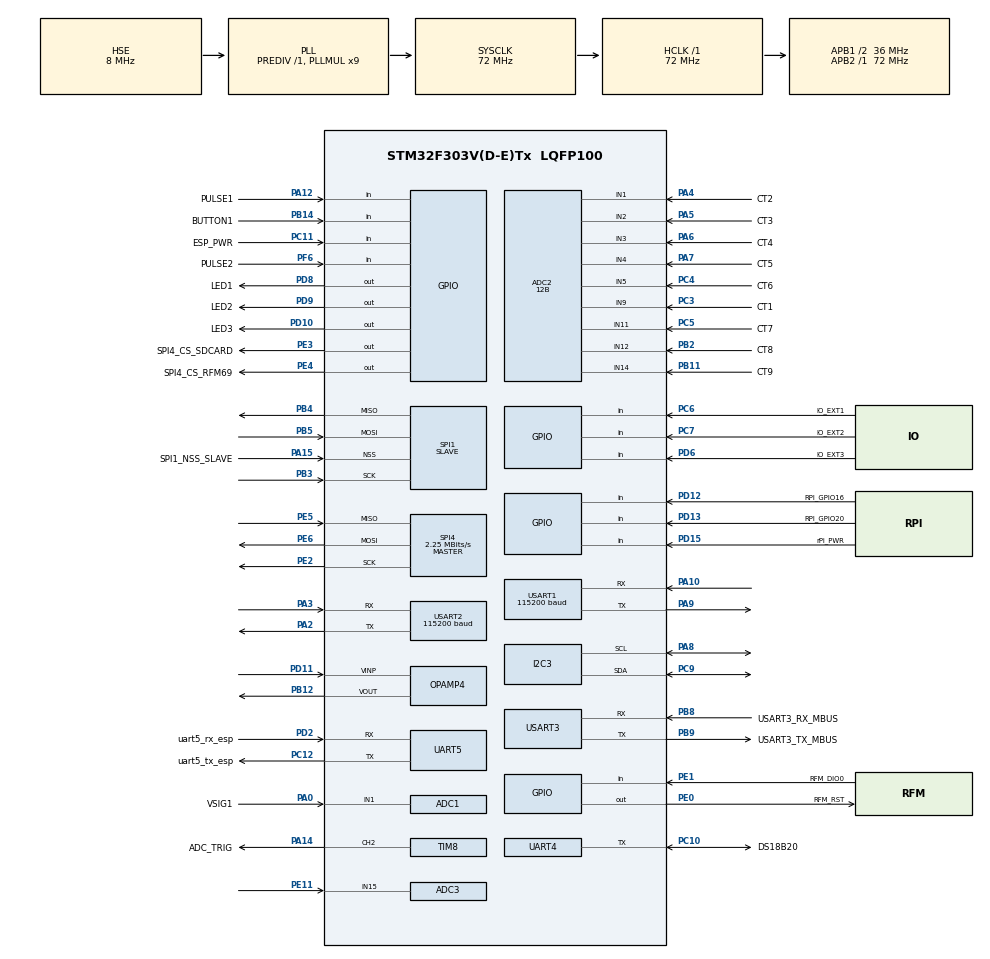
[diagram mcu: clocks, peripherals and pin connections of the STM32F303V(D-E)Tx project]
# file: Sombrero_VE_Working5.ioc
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ADC1.Channel-0\#ChannelRegularConversion=ADC_CHANNEL_1
ADC1.ClockPrescaler=ADC_CLOCK_SYNC_PCLK_DIV4
ADC1.ContinuousConvMode=ENABLE
ADC1.DMAContinuousRequests=ENABLE
ADC1.DataAlign=ADC_DATAALIGN_RIGHT
ADC1.DiscontinuousConvMode=DISABLE
ADC1.EOCSelection=ADC_EOC_SEQ_CONV
ADC1.EnableAnalogWatchDog1=false
ADC1.EnableAnalogWatchDog2=false
ADC1.EnableAnalogWatchDog3=false
ADC1.EnableInjectedConversion=DISABLE
ADC1.EnableRegularConversion=ENABLE
ADC1.ExternalTrigConv=ADC_EXTERNALTRIGCONV_T8_TRGO2
ADC1.ExternalTrigConvEdge=ADC_EXTERNALTRIGCONVEDGE_FALLING
ADC1.LowPowerAutoWait=DISABLE
ADC1.NbrOfConversion=1
ADC1.NbrOfConversionFlag=1
ADC1.Offset-0\#ChannelRegularConversion=0
ADC1.OffsetNumber-0\#ChannelRegularConversion=ADC_OFFSET_NONE
ADC1.Overrun=ADC_OVR_DATA_OVERWRITTEN
ADC1.Rank-0\#ChannelRegularConversion=1
ADC1.Resolution=ADC_RESOLUTION_12B
ADC1.SamplingTime-0\#ChannelRegularConversion=ADC_SAMPLETIME_181CYCLES_5
ADC1.ScanConvMode=ADC_SCAN_DISABLE
ADC1.master=1
ADC2.Channel-0\#ChannelRegularConversion=ADC_CHANNEL_9
ADC2.Channel-1\#ChannelRegularConversion=ADC_CHANNEL_1
ADC2.Channel-2\#ChannelRegularConversion=ADC_CHANNEL_2
ADC2.Channel-3\#ChannelRegularConversion=ADC_CHANNEL_3
ADC2.Channel-4\#ChannelRegularConversion=ADC_CHANNEL_4
ADC2.Channel-5\#ChannelRegularConversion=ADC_CHANNEL_5
ADC2.Channel-6\#ChannelRegularConversion=ADC_CHANNEL_11
ADC2.Channel-7\#ChannelRegularConversion=ADC_CHANNEL_12
ADC2.Channel-8\#ChannelRegularConversion=ADC_CHANNEL_14
ADC2.ClockPrescaler=ADC_CLOCK_SYNC_PCLK_DIV4
ADC2.ContinuousConvMode=ENABLE
ADC2.DMAContinuousRequests=ENABLE
ADC2.DataAlign=ADC_DATAALIGN_RIGHT
ADC2.DiscontinuousConvMode=DISABLE
ADC2.EOCSelection=ADC_EOC_SEQ_CONV
ADC2.EnableAnalogWatchDog1=false
ADC2.EnableAnalogWatchDog2=false
ADC2.EnableAnalogWatchDog3=false
ADC2.EnableInjectedConversion=DISABLE
ADC2.EnableRegularConversion=ENABLE
ADC2.ExternalTrigConv=ADC_EXTERNALTRIGCONV_T8_TRGO2
ADC2.ExternalTrigConvEdge=ADC_EXTERNALTRIGCONVEDGE_RISING
ADC2.LowPowerAutoWait=DISABLE
ADC2.NbrOfConversion=9
ADC2.NbrOfConversionFlag=1
ADC2.Offset-0\#ChannelRegularConversion=0
ADC2.Offset-1\#ChannelRegularConversion=0
ADC2.Offset-2\#ChannelRegularConversion=0
ADC2.Offset-3\#ChannelRegularConversion=0
ADC2.Offset-4\#ChannelRegularConversion=0
ADC2.Offset-5\#ChannelRegularConversion=0
ADC2.Offset-6\#ChannelRegularConversion=0
ADC2.Offset-7\#ChannelRegularConversion=0
ADC2.Offset-8\#ChannelRegularConversion=0
ADC2.OffsetNumber-0\#ChannelRegularConversion=ADC_OFFSET_NONE
ADC2.OffsetNumber-1\#ChannelRegularConversion=ADC_OFFSET_NONE
ADC2.OffsetNumber-2\#ChannelRegularConversion=ADC_OFFSET_NONE
ADC2.OffsetNumber-3\#ChannelRegularConversion=ADC_OFFSET_NONE
ADC2.OffsetNumber-4\#ChannelRegularConversion=ADC_OFFSET_NONE
ADC2.OffsetNumber-5\#ChannelRegularConversion=ADC_OFFSET_NONE
ADC2.OffsetNumber-6\#ChannelRegularConversion=ADC_OFFSET_NONE
ADC2.OffsetNumber-7\#ChannelRegularConversion=ADC_OFFSET_NONE
ADC2.OffsetNumber-8\#ChannelRegularConversion=ADC_OFFSET_NONE
ADC2.Overrun=ADC_OVR_DATA_OVERWRITTEN
ADC2.Rank-0\#ChannelRegularConversion=1
ADC2.Rank-1\#ChannelRegularConversion=2
ADC2.Rank-2\#ChannelRegularConversion=3
ADC2.Rank-3\#ChannelRegularConversion=4
ADC2.Rank-4\#ChannelRegularConversion=5
ADC2.Rank-5\#ChannelRegularConversion=6
ADC2.Rank-6\#ChannelRegularConversion=7
ADC2.Rank-7\#ChannelRegularConversion=8
ADC2.Rank-8\#ChannelRegularConversion=9
ADC2.Resolution=ADC_RESOLUTION_12B
ADC2.SamplingTime-0\#ChannelRegularConversion=ADC_SAMPLETIME_181CYCLES_5
ADC2.SamplingTime-1\#ChannelRegularConversion=ADC_SAMPLETIME_181CYCLES_5
ADC2.SamplingTime-2\#ChannelRegularConversion=ADC_SAMPLETIME_181CYCLES_5
ADC2.SamplingTime-3\#ChannelRegularConversion=ADC_SAMPLETIME_181CYCLES_5
ADC2.SamplingTime-4\#ChannelRegularConversion=ADC_SAMPLETIME_181CYCLES_5
ADC2.SamplingTime-5\#ChannelRegularConversion=ADC_SAMPLETIME_181CYCLES_5
ADC2.SamplingTime-6\#ChannelRegularConversion=ADC_SAMPLETIME_181CYCLES_5
ADC2.SamplingTime-7\#ChannelRegularConversion=ADC_SAMPLETIME_181CYCLES_5
ADC2.SamplingTime-8\#ChannelRegularConversion=ADC_SAMPLETIME_181CYCLES_5
ADC2.ScanConvMode=ADC_SCAN_ENABLE
ADC3.Channel-0\#ChannelRegularConversion=ADC_CHANNEL_15
ADC3.EnableInjectedConversion=DISABLE
ADC3.NbrOfConversionFlag=1
ADC3.Offset-0\#ChannelRegularConversion=0
ADC3.OffsetNumber-0\#ChannelRegularConversion=ADC_OFFSET_NONE
ADC3.Rank-0\#ChannelRegularConversion=1
ADC3.SamplingTime-0\#ChannelRegularConversion=ADC_SAMPLETIME_1CYCLE_5
ADC3.master=1
Dma.ADC1.3.Direction=DMA_PERIPH_TO_MEMORY
Dma.ADC1.3.Instance=DMA1_Channel1
Dma.ADC1.3.MemDataAlignment=DMA_MDATAALIGN_HALFWORD
Dma.ADC1.3.MemInc=DMA_MINC_ENABLE
Dma.ADC1.3.Mode=DMA_CIRCULAR
Dma.ADC1.3.PeriphDataAlignment=DMA_PDATAALIGN_HALFWORD
Dma.ADC1.3.PeriphInc=DMA_PINC_DISABLE
Dma.ADC1.3.Priority=DMA_PRIORITY_HIGH
Dma.ADC2.0.Direction=DMA_PERIPH_TO_MEMORY
Dma.ADC2.0.Instance=DMA2_Channel1
Dma.ADC2.0.MemDataAlignment=DMA_MDATAALIGN_HALFWORD
Dma.ADC2.0.MemInc=DMA_MINC_ENABLE
Dma.ADC2.0.Mode=DMA_CIRCULAR
Dma.ADC2.0.PeriphDataAlignment=DMA_PDATAALIGN_HALFWORD
Dma.ADC2.0.PeriphInc=DMA_PINC_DISABLE
Dma.ADC2.0.Priority=DMA_PRIORITY_HIGH
Dma.Request0=ADC2
Dma.Request1=USART2_RX
Dma.Request2=USART1_RX
Dma.Request3=ADC1
Dma.USART1_RX.2.Direction=DMA_PERIPH_TO_MEMORY
Dma.USART1_RX.2.Instance=DMA1_Channel5
Dma.USART1_RX.2.MemDataAlignment=DMA_MDATAALIGN_BYTE
Dma.USART1_RX.2.MemInc=DMA_MINC_ENABLE
Dma.USART1_RX.2.Mode=DMA_NORMAL
Dma.USART1_RX.2.PeriphDataAlignment=DMA_PDATAALIGN_BYTE
Dma.USART1_RX.2.PeriphInc=DMA_PINC_DISABLE
Dma.USART1_RX.2.Priority=DMA_PRIORITY_LOW
Dma.USART2_RX.1.Direction=DMA_PERIPH_TO_MEMORY
Dma.USART2_RX.1.Instance=DMA1_Channel6
Dma.USART2_RX.1.MemDataAlignment=DMA_MDATAALIGN_BYTE
Dma.USART2_RX.1.MemInc=DMA_MINC_ENABLE
Dma.USART2_RX.1.Mode=DMA_NORMAL
Dma.USART2_RX.1.PeriphDataAlignment=DMA_PDATAALIGN_BYTE
Dma.USART2_RX.1.PeriphInc=DMA_PINC_DISABLE
Dma.USART2_RX.1.Priority=DMA_PRIORITY_LOW
I2C3.Timing=0x10808DD3
Mcu.Family=STM32F3
Mcu.Name=STM32F303V(D-E)Tx
Mcu.Package=LQFP100
NVIC.ADC1_2_IRQn=true\:0\:0\:false\:false\:true\:true
NVIC.DMA1_Channel1_IRQn=true\:0\:0\:false\:false\:true\:false
NVIC.DMA1_Channel5_IRQn=true\:0\:0\:false\:false\:true\:false
NVIC.DMA1_Channel6_IRQn=true\:0\:0\:false\:false\:true\:false
NVIC.DMA2_Channel1_IRQn=true\:0\:0\:false\:false\:true\:false
NVIC.PriorityGroup=NVIC_PRIORITYGROUP_4
NVIC.TIM1_UP_TIM16_IRQn=true\:0\:0\:false\:false\:true\:true
NVIC.USART1_IRQn=true\:0\:0\:false\:false\:true\:true
NVIC.USART2_IRQn=true\:0\:0\:false\:false\:true\:true
PA0.GPIO_Label=VSIG1
PA0.Mode=IN1-Single-Ended
PA0.Signal=ADC1_IN1
PA10.GPIO_PuPd=GPIO_PULLDOWN
PA10.Mode=Asynchronous
PA10.Signal=USART1_RX
PA12.GPIO_Label=PULSE1
PA12.GPIO_PuPd=GPIO_PULLDOWN
PA12.Signal=GPIO_Input
PA14.GPIO_Label=ADC_TRIG
PA14.Signal=S_TIM8_CH2
PA15.GPIO_Label=SPI1_NSS_SLAVE
PA15.GPIO_PuPd=GPIO_PULLDOWN
PA15.Mode=NSS_Signal_Hard_Input
PA15.Signal=SPI1_NSS
PA2.GPIO_PuPd=GPIO_PULLDOWN
PA2.Mode=Asynchronous
PA2.Signal=USART2_TX
PA3.GPIO_PuPd=GPIO_PULLDOWN
PA3.Mode=Asynchronous
PA3.Signal=USART2_RX
PA4.GPIO_Label=CT2
PA4.Mode=IN1-Single-Ended
PA4.Signal=ADC2_IN1
PA5.GPIO_Label=CT3
PA5.Mode=IN2-Single-Ended
PA5.Signal=ADC2_IN2
PA6.GPIO_Label=CT4
PA6.Mode=IN3-Single-Ended
PA6.Signal=ADC2_IN3
PA7.GPIO_Label=CT5
PA7.Mode=IN4-Single-Ended
PA7.Signal=ADC2_IN4
PA8.Mode=I2C
PA8.Signal=I2C3_SCL
PA9.GPIO_PuPd=GPIO_PULLDOWN
PA9.Mode=Asynchronous
PA9.Signal=USART1_TX
PB11.GPIO_Label=CT9
PB11.Mode=IN14-Single-Ended
PB11.Signal=ADC2_IN14
PB12.Mode=Follower
PB12.Signal=OPAMP4_VOUT
PB14.GPIO_Label=BUTTON1
PB14.GPIO_PuPd=GPIO_PULLDOWN
PB14.Signal=GPIO_Input
PB15.GPIO_Label=ADC4_5_RJ45_1
PB15.Signal=ADC4_IN5
PB2.GPIO_Label=CT8
PB2.Mode=IN12-Single-Ended
PB2.Signal=ADC2_IN12
PB3.GPIO_PuPd=GPIO_PULLDOWN
PB3.Mode=Full_Duplex_Slave
PB3.Signal=SPI1_SCK
PB4.GPIO_PuPd=GPIO_PULLDOWN
PB4.Mode=Full_Duplex_Slave
PB4.Signal=SPI1_MISO
PB5.GPIO_PuPd=GPIO_PULLDOWN
PB5.Mode=Full_Duplex_Slave
PB5.Signal=SPI1_MOSI
PB8.GPIO_Label=USART3_RX_MBUS
PB8.Mode=Asynchronous
PB8.Signal=USART3_RX
PB9.GPIO_Label=USART3_TX_MBUS
PB9.Mode=Asynchronous
PB9.Signal=USART3_TX
PC10.GPIO_Label=DS18B20
PC10.Mode=Half_duplex(single_wire_mode)
PC10.Signal=UART4_TX
PC11.GPIO_Label=ESP_PWR
PC11.GPIO_PuPd=GPIO_PULLDOWN
PC11.Signal=GPIO_Input
PC12.GPIO_Label=uart5_tx_esp
PC12.Mode=Asynchronous
PC12.Signal=UART5_TX
PC14-OSC32_IN.Mode=LSE-External-Oscillator
PC14-OSC32_IN.Signal=RCC_OSC32_IN
PC15-OSC32_OUT.Mode=LSE-External-Oscillator
PC15-OSC32_OUT.Signal=RCC_OSC32_OUT
PC3.GPIO_Label=CT1
PC3.Signal=ADCx_IN9
PC4.GPIO_Label=CT6
PC4.Mode=IN5-Single-Ended
PC4.Signal=ADC2_IN5
PC5.GPIO_Label=CT7
PC5.Mode=IN11-Single-Ended
PC5.Signal=ADC2_IN11
PC6.GPIO_Label=IO_EXT1
PC6.GPIO_PuPd=GPIO_PULLDOWN
PC6.Signal=GPIO_Input
PC7.GPIO_Label=IO_EXT2
PC7.GPIO_PuPd=GPIO_PULLDOWN
PC7.Signal=GPIO_Input
PC9.Mode=I2C
PC9.Signal=I2C3_SDA
PD10.GPIO_Label=LED3
PD10.GPIO_ModeDefaultOutputPP=GPIO_MODE_OUTPUT_PP
PD10.GPIO_PuPd=GPIO_NOPULL
PD10.GPIO_Speed=GPIO_SPEED_FREQ_LOW
PD10.PinState=GPIO_PIN_RESET
PD10.Signal=GPIO_Output
PD11.Mode=Follower
PD11.Signal=OPAMP4_VINP
PD12.GPIO_Label=RPI_GPIO16
PD12.GPIO_PuPd=GPIO_PULLDOWN
PD12.Signal=GPIO_Input
PD13.GPIO_Label=RPI_GPIO20
PD13.GPIO_PuPd=GPIO_PULLDOWN
PD13.Signal=GPIO_Input
PD14.GPIO_Label=ADC3_11_RJ45_2
PD14.Signal=ADCx_IN11
PD15.GPIO_Label=rPi_PWR
PD15.GPIO_PuPd=GPIO_PULLDOWN
PD15.Signal=GPIO_Input
PD2.GPIO_Label=uart5_rx_esp
PD2.Mode=Asynchronous
PD2.Signal=UART5_RX
PD6.GPIO_Label=IO_EXT3
PD6.GPIO_PuPd=GPIO_PULLDOWN
PD6.Signal=GPIO_Input
PD8.GPIO_Label=LED1
PD8.Signal=GPIO_Output
PD9.GPIO_Label=LED2
PD9.GPIO_ModeDefaultOutputPP=GPIO_MODE_OUTPUT_PP
PD9.GPIO_PuPd=GPIO_NOPULL
PD9.GPIO_Speed=GPIO_SPEED_FREQ_LOW
PD9.PinState=GPIO_PIN_RESET
PD9.Signal=GPIO_Output
PE0.GPIO_Label=RFM_RST
PE0.GPIO_PuPd=GPIO_PULLDOWN
PE0.Signal=GPIO_Output
PE1.GPIO_Label=RFM_DIO0
PE1.GPIO_PuPd=GPIO_PULLDOWN
PE1.Signal=GPIO_Input
PE11.Mode=IN15-Single-Ended
PE11.Signal=ADC3_IN15
PE2.GPIO_PuPd=GPIO_PULLDOWN
PE2.Mode=Full_Duplex_Master
PE2.Signal=SPI4_SCK
PE3.GPIO_Label=SPI4_CS_SDCARD
PE3.GPIO_PuPd=GPIO_PULLUP
PE3.PinState=GPIO_PIN_SET
PE3.Signal=GPIO_Output
PE4.GPIO_Label=SPI4_CS_RFM69
PE4.GPIO_PuPd=GPIO_PULLUP
PE4.GPIO_Speed=GPIO_SPEED_FREQ_HIGH
PE4.PinState=GPIO_PIN_SET
PE4.Signal=GPIO_Output
PE5.GPIO_PuPd=GPIO_PULLDOWN
PE5.Mode=Full_Duplex_Master
PE5.Signal=SPI4_MISO
PE6.GPIO_PuPd=GPIO_PULLDOWN
PE6.Mode=Full_Duplex_Master
PE6.Signal=SPI4_MOSI
PF0-OSC_IN.Mode=HSE-External-Oscillator
PF0-OSC_IN.Signal=RCC_OSC_IN
PF1-OSC_OUT.Mode=HSE-External-Oscillator
PF1-OSC_OUT.Signal=RCC_OSC_OUT
PF6.GPIO_Label=PULSE2
PF6.GPIO_PuPd=GPIO_PULLDOWN
PF6.Signal=GPIO_Input
ProjectManager.HeapSize=0x200
ProjectManager.StackSize=0x400
ProjectManager.TargetToolchain=Makefile
RCC.AHBFreq_Value=72000000
RCC.APB1CLKDivider=RCC_HCLK_DIV2
RCC.APB1Freq_Value=36000000
RCC.APB1TimFreq_Value=72000000
RCC.APB2Freq_Value=72000000
RCC.APB2TimFreq_Value=72000000
RCC.CortexFreq_Value=72000000
RCC.HCLKFreq_Value=72000000
RCC.HSE_VALUE=8000000
RCC.HSI_VALUE=8000000
RCC.I2c1ClockSelection=RCC_I2C1CLKSOURCE_SYSCLK
RCC.I2c3ClockSelection=RCC_I2C3CLKSOURCE_SYSCLK
RCC.PLLMUL=RCC_PLL_MUL9
RCC.PLLSourceVirtual=RCC_PLLSOURCE_HSE
RCC.PRESCALERUSB=RCC_USBCLKSOURCE_PLL_DIV1_5
RCC.RTCClockSelection=RCC_RTCCLKSOURCE_LSE
RCC.SYSCLKFreq_VALUE=72000000
RCC.SYSCLKSourceVirtual=RCC_SYSCLKSOURCE_PLLCLK
RCC.USBFreq_Value=48000000
RCC.Uart4ClockSelection=RCC_UART4CLKSOURCE_SYSCLK
RCC.Uart5ClockSelection=RCC_UART5CLKSOURCE_SYSCLK
RCC.Usart1ClockSelection=RCC_USART1CLKSOURCE_SYSCLK
RCC.Usart2ClockSelection=RCC_USART2CLKSOURCE_SYSCLK
RCC.Usart3ClockSelection=RCC_USART3CLKSOURCE_SYSCLK
RTC.SynchPrediv=311
SH.ADCx_IN11.0=ADC3_IN11
SH.ADCx_IN9.0=ADC2_IN9,IN9-Single-Ended
SH.S_TIM8_CH2.0=TIM8_CH2,PWM Generation2 CH2
SPI1.DataSize=SPI_DATASIZE_8BIT
SPI1.Direction=SPI_DIRECTION_2LINES
SPI1.Mode=SPI_MODE_SLAVE
SPI1.VirtualNSS=VM_NSSHARD
SPI1.VirtualType=VM_SLAVE
SPI4.BaudRatePrescaler=SPI_BAUDRATEPRESCALER_32
SPI4.CalculateBaudRate=2.25 MBits/s
SPI4.DataSize=SPI_DATASIZE_8BIT
SPI4.Direction=SPI_DIRECTION_2LINES
SPI4.Mode=SPI_MODE_MASTER
SPI4.VirtualType=VM_MASTER
TIM16.AutoReloadPreload=TIM_AUTORELOAD_PRELOAD_DISABLE
TIM16.Period=9999
TIM16.Prescaler=710
TIM8.AutoReloadPreload=TIM_AUTORELOAD_PRELOAD_DISABLE
TIM8.Channel-PWM\ Generation2\ CH2=TIM_CHANNEL_2
TIM8.Period=9999
TIM8.Prescaler=71
TIM8.TIM_MasterOutputTrigger2=TIM_TRGO2_OC2REF
USART1.BaudRate=115200
USART1.DMADisableonRxErrorParam=ADVFEATURE_DMA_DISABLEONRXERROR
USART1.VirtualMode-Asynchronous=VM_ASYNC
USART2.BaudRate=115200
USART2.DMADisableonRxErrorParam=ADVFEATURE_DMA_DISABLEONRXERROR
USART2.VirtualMode-Asynchronous=VM_ASYNC
USART3.VirtualMode-Asynchronous=VM_ASYNC
VP_RTC_VS_RTC_Activate.Mode=RTC_Enabled
VP_RTC_VS_RTC_Calendar.Mode=RTC_Calendar
VP_TIM16_VS_ClockSourceINT.Mode=Enable_Timer
VP_TIM16_VS_OPM.Mode=OPM_bit
board=custom

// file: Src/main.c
/**
  ******************************************************************************
  * @file           : main.c
  * @brief          : Main program body
  ******************************************************************************
  ** This notice applies to any and all portions of this file
  * that are not between comment pairs USER CODE BEGIN and
  * USER CODE END. Other portions of this file, whether
  * inserted by the user or by software development tools
  * are owned by their respective copyright owners.
  *
  * COPYRIGHT(c) 2020 STMicroelectronics
  *
  * Redistribution and use in source and binary forms, with or without modification,
  * are permitted provided that the following conditions are met:
  *   1. Redistributions of source code must retain the above copyright notice,
  *      this list of conditions and the following disclaimer.
  *   2. Redistributions in binary form must reproduce the above copyright notice,
  *      this list of conditions and the following disclaimer in the documentation
  *      and/or other materials provided with the distribution.
  *   3. Neither the name of STMicroelectronics nor the names of its contributors
  *      may be used to endorse or promote products derived from this software
  *      without specific prior written permission.
  *
  * THIS SOFTWARE IS PROVIDED BY THE COPYRIGHT HOLDERS AND CONTRIBUTORS "AS IS"
  * AND ANY EXPRESS OR IMPLIED WARRANTIES, INCLUDING, BUT NOT LIMITED TO, THE
  * IMPLIED WARRANTIES OF MERCHANTABILITY AND FITNESS FOR A PARTICULAR PURPOSE ARE
  * DISCLAIMED. IN NO EVENT SHALL THE COPYRIGHT HOLDER OR CONTRIBUTORS BE LIABLE
  * FOR ANY DIRECT, INDIRECT, INCIDENTAL, SPECIAL, EXEMPLARY, OR CONSEQUENTIAL
  * DAMAGES (INCLUDING, BUT NOT LIMITED TO, PROCUREMENT OF SUBSTITUTE GOODS OR
  * SERVICES; LOSS OF USE, DATA, OR PROFITS; OR BUSINESS INTERRUPTION) HOWEVER
  * CAUSED AND ON ANY THEORY OF LIABILITY, WHETHER IN CONTRACT, STRICT LIABILITY,
  * OR TORT (INCLUDING NEGLIGENCE OR OTHERWISE) ARISING IN ANY WAY OUT OF THE USE
  * OF THIS SOFTWARE, EVEN IF ADVISED OF THE POSSIBILITY OF SUCH DAMAGE.
  *
  ******************************************************************************
  */
#include "main.h"
#include "stm32f3xx_hal.h"
#include "adc.h"
#include "dma.h"
#include "i2c.h"
#include "opamp.h"
#include "rtc.h"
#include "spi.h"
#include "tim.h"
#include "usart.h"
#include "gpio.h"

/* USER CODE BEGIN Includes */
#include <time.h>
#include <math.h>
#include <string.h>
#include <stdbool.h>
#include <stdlib.h>
#include "jsmn.h"
#include "reset.h"
#include "json.h"
#include "RFM69.h"
#include "RFM69_ext.h"
//#include "ds18b20.h"
/* USER CODE END Includes */

/* USER CODE BEGIN PV */
/* Private variables ---------------------------------------------------------*/
// test variables
bool testing = true; // for testing
bool dontGiveAMonkeys = false; // don't wait for a VT adaptor to calculate Irms, AP, RP etc.
bool ledBlink = true; // enable or disable LED blinking.

// version information
char hwVersion[] = "Sombrero_v0.8";
char fwVersion[] = "v0.1";

//-------------
// MODES
//-------------
// 0 = Standalone
// 1 = rPi
// 2 = ESP32
// 3 = testing
int _mode = 1; // initialised as rPi mode for testing.

// approximating the BIAS.
#define MID_ADC_READING 2048

//------------------------------------------------
// timing, ADCs, power and frequency variables
//------------------------------------------------
double V_RATIO;
double I_RATIO;
uint32_t posting_interval = 1000; // millis to post data at.
//const double adc_conversion_time = (614.0*(1.0/(72000000.0/4))); // time in seconds for an ADC conversion, for estimating mains AC frequency.
const double adc_conversion_time = (194.0*(1.0/(72000000.0/4))); // time in seconds for an ADC conversion, for estimating mains AC frequency.
//const double adc_conversion_time = (74.0*(1.0/(72000000.0/4))); // seems to be the fastest we can sample.
//const double adc_conversion_time = (32.0*(1.0/(72000000.0/4))); // this speed causes buffer overruns.
double mains_frequency; // as it says.
double Ws_accumulator[CTn] = {0}; // energy accumulator per CT channel.

//------------------------------------------------
// Flags
//------------------------------------------------
bool readings_ready = false;
bool readings_requested = false;
bool first_readings = false;

//----------------------------
// CT Settings : Common
//----------------------------

//----------------------------
// CT Settings : Per Channel
//----------------------------

//----------------------------
// VT Settings : Common
//----------------------------

//------------------------
// Channel Accumulators
//------------------------
typedef struct channel_
{
  int64_t sum_P;
  uint64_t sum_V_sq;
  uint64_t sum_I_sq;
  int64_t sum_V;
  int64_t sum_I;
  bool Iclipped;
  uint32_t count;
  uint32_t cycles;
  bool positive_V;
  bool last_positive_V;
} channel_t; // data struct per CT channel, stm32 only does 32-bit struct items, anything else gets padded out to 32-bit automatically by

static channel_t channels[CTn] = {0};
static channel_t channels_ready[CTn] = {0};
bool channel_rdy_bools[CTn] = {0};

//--------------------------------
// VOLTAGE CALIBRATION
//--------------------------------
const double VOLTS_PER_DIV = (3.3 / 4096.0);
//const double VCAL = 268.97*0.9940357853*0.9947958367; // default ideal power UK, adjusted
const double VCAL = 268.97;
//const double VCAL = 278.853288075457; // measured by DB for the Mascot adaptor.

//--------------------------------
// AMPERAGE CALIBRATION
//--------------------------------
//const double ICAL = (100/0.05)/22.0; // (CT rated input ÷ rated output) ÷ burden value.
//const double ICAL = (100/0.05)/(26.8); // dan's stm32 consistency check board at 0.2% accuracy burden (53R6 x 2 in parallel).
//const double ICAL = (100/0.05)/50.6; // dan's custom test board.
//const double ICAL = (100/0.05)/456.3; // dan's custom test board.
//const double ICAL = (100/0.05)/1.0; // dan's custom test board.
//const double ICAL = (100/0.05)/(22.0/1000.0);
const double ICAL = (100.0/0.05)*22.0; // V=I*R. Convert to raw mV signal for testing.

//--------------------------
// PHASE CALIBRATION
//--------------------------
// Finite Impulse Response (FIR) filter-like Power Factor correction.
// This phase correction can be applied to individual CTs.
// This phase-correction works by selecting the relevant sample from the ADC DMA buffer.
// For example ADC1 has buffer 1, ADC2 has buffer 2. The VT is on buffer 1, the CT is on buffer 2.
// We can choose to pair the relevant sample from buffers one and two, to adjust for time differences (phase shift).
// Each sample is separated at a single conversion time, 10.7usecs, for example, or tripple that for 3-phase.
int hunt_PF[CTn] = {0}; // this is a per-channel state trigger. The array index is the CT channel.
// when above array value {0} equals:
// 0 = no power factor hunting, default at program start.
// 1 = power factor hunt start. This can be triggered from a serial command.
// 2 = power factor hunt to the right. (increase VT lead, automatic).
// 3 = power factor hunt to the left. (increase VT lag, automatic).
// 4 = hunt finishing, finding mode average (automatic).
// 5 = hunt complete.

// This store the actual value of buffer indexes to shift by, for each channel.
int phase_corrections[CTn] = {0};   // store of phase corrections per channel.

// Below are misc variables to make PF hunting work.
uint8_t phHunt_direction_changes = 0; // we're aiming for phase_correction_iteration_target.
const int phHunt_direction_change_target = 5; // how many times will the phase hunt change direction?
double last_powerFactor[CTn]; // PF from previous readings.
double powerFactor_now[CTn];  // PF from most recent readings.
uint16_t highest_phase_correction = 0;

//------------------------
// UART SERIAL BUFFERS
//------------------------

char rx_string[COMMAND_BUFFER_SIZE];
char string_buffer[200];
char readings_rdy_buffer[1000];

//----------------
// RADIO
//----------------
bool radioSend = false; // set to 1 to send test data with RFM69.
bool radioReceive = false;
static uint16_t networkID = 210; // a.k.a. Network Group
static uint8_t nodeID = 10; // this node's ID (address).
static uint16_t freqBand = 433; // MHz
static uint8_t toAddress = 1; // destination address.
bool requestACK = false; // untested.
static char encryptkey[20] = {'\0'}; // twenty character encrypt key, or  '\0'  for nothing.
//char encryptkey[20] = "asdfasdfasdfasdf"; // twenty character encrypt key, or  '\0'  for nothing.
typedef struct {
  uint32_t nodeId;
  uint32_t uptime;
  //double temperature;   // other data
} Payload;
Payload radioData;

//--------------------
// Time variables
//--------------------
uint32_t current_millis;
uint32_t previous_millis;

//----------------
// MISC
//----------------
static uint32_t pulseCount = 0;
extern char json_response[40];
extern int boot_number;

/* USER CODE END PV */

void SystemClock_Config(void);

/* USER CODE BEGIN PFP */
/* Private function prototypes -----------------------------------------------*/

//------------------------------------------
// FIR-type filter for phase correction.
//------------------------------------------
void set_highest_phase_correction(void) { // could be done after each correction routine instead.
  highest_phase_correction = 0; // reset.
  for (int i = 0; i < CTn; i++) {
    if (phase_corrections[i] > highest_phase_correction) highest_phase_correction = phase_corrections[i];
  }
}

//-----------------------------------------------
// Check the DMA buffer for a 'future' sample.
//-----------------------------------------------
bool check_dma_index_for_phase_correction(uint16_t offset) {
  // HAL_DELAY(1); // test
  uint16_t dma_counter_now = hdma_adc1.Instance->CNDTR;
  //sprintf(log_buffer, "dma_counter_now:%d, offset:%d, highest_correction:%d\r\n", dma_counter_now, offset, highest_phase_correction);
  //debug_printf(log_buffer); log_buffer[0] = 0;
  if (offset == 0) {
    if (adc_buff_half_size - dma_counter_now > highest_phase_correction) { return true; }
    else { return false; }
  }
  else if (offset == adc_buff_half_size) {
    if (adc_buff_size - dma_counter_now > highest_phase_correction) {return true; }
    else { return false; }
  }
  return false; // get rid of compiler warning.
}

//--------------------------------------------------------
// Mathematical function to find the mode of an array
//--------------------------------------------------------
bool modeFail;

int findmode(int a[],int n) { // https://www.tutorialspoint.com/learn_c_by_examples/mode_program_in_c.htm
   modeFail = false;
   int maxValue = 0, maxCount = 0, i, j;
   for (i = 0; i < n; ++i) {
      int count = 0;
      for (j = 0; j < n; ++j) {
         if (a[j] == a[i])
         ++count;
      }
      if (count > maxCount) {
         maxCount = count;
         maxValue = a[i];
      }
   }
   if (maxCount < 3) {debug_printf("No confident value found.\r\n"); modeFail = true; }
   return maxValue;
}

//----------------------------------------------------------------------------------------------------------------
// This is a phase correction per CT channel method based on the DMA buffer index selection (CT vs VT DMA buffer).
//----------------------------------------------------------------------------------------------------------------
int pf_mode_array[5]; // stores the phase_corrections value at the point of switching direction.
int *pf_ptr = pf_mode_array;
int phase_corrections_store_previous_value;
void pfHunt(int ch) {
  if (hunt_PF[ch] == 0 || hunt_PF[ch] == 5) {
    return;
  }
  else if (hunt_PF[ch] == 1) { // start hunting one direction
    phase_corrections_store_previous_value = phase_corrections[ch];
    phase_corrections[ch]++; hunt_PF[ch]++;
    // print phase correction.
    sprintf(log_buffer, "PFstart++ \r\nSetting phase_corrections[%d] to %d\r\n", ch, phase_corrections[ch]);
    //debug_printf(log_buffer); log_buffer[0] = '\0';
  }
  else if (hunt_PF[ch] == 2) { // continue this direction unless...
    sprintf(log_buffer, "PF_now:%.6lf | last_PF:%.6lf | phase_corrections[] for CT%d was at %d, equal to %.2lf degrees phase shift.\r\n",
     powerFactor_now[ch], last_powerFactor[ch], ch+1, phase_corrections[ch], (360.0*((adc_conversion_time*phase_corrections[ch])/(1/mains_frequency))));
    debug_printf(log_buffer); log_buffer[0] = '\0';
    if (powerFactor_now[ch] > last_powerFactor[ch]) phase_corrections[ch]++; // keep going forwards into the buffer
    else { hunt_PF[ch]++; phHunt_direction_changes++; phase_corrections[ch]--; *pf_ptr = phase_corrections[ch]; pf_ptr++; } // switch direction and start going backwards into the buffer
    // print phase correction.
    sprintf(log_buffer, "PF++ | Setting phase_corrections[] for CT%d to %d. Switched direction %d times.\r\n", ch+1, phase_corrections[ch], phHunt_direction_changes);
    //debug_printf(log_buffer); log_buffer[0] = '\0';
    if (phHunt_direction_changes == phHunt_direction_change_target) hunt_PF[ch] = 4;
  }
  else if (hunt_PF[ch] == 3) { // hunt the other direction until...
    sprintf(log_buffer, "PF_now:%.6lf | last_PF:%.6lf | phase_corrections[%d] was at %d, equal to %.2lf degrees phase shift.\r\n", powerFactor_now[ch], last_powerFactor[ch], ch, phase_corrections[ch], (360.0*((adc_conversion_time*phase_corrections[ch])/(1/mains_frequency)))); debug_printf(log_buffer); log_buffer[0] = '\0';
    if (powerFactor_now[ch] > last_powerFactor[ch]) phase_corrections[ch]--; // keep going backwards into the buffer
    else { hunt_PF[ch]--; phHunt_direction_changes++; phase_corrections[ch]++; *pf_ptr = phase_corrections[ch]; pf_ptr++; } // switch direction and go forwards again into the buffer
    // print phase correction.
    sprintf(log_buffer, "PF-- | Setting phase_corrections[] for CT%d to %d. Switched direction %d times.\r\n", ch+1, phase_corrections[ch], phHunt_direction_changes);
    //debug_printf(log_buffer); log_buffer[0] = '\0';
    if (phHunt_direction_changes == phHunt_direction_change_target) hunt_PF[ch] = 4;
  }
  else if (hunt_PF[ch] == 4) {
    // finish up...
    for (int i = 0; i < phHunt_direction_change_target; i++) { sprintf(log_buffer, "pf_mode_array[%d] value was %d\r\n", i, pf_mode_array[i]); debug_printf(log_buffer); }

    sprintf(log_buffer, "mode:%d\r\n", findmode(pf_mode_array, phHunt_direction_change_target));
    debug_printf(log_buffer); log_buffer[0] = '\0';

    phase_corrections[ch] = findmode(pf_mode_array, phHunt_direction_change_target); // the result is set in phase_corrections[] for this channel now.
    if (modeFail) {
      sprintf(log_buffer, "huntPF FAILED – phase_corrections[] for CT%d set to original value %d.\r\n", ch+1, phase_corrections_store_previous_value);
      phase_corrections[ch] = phase_corrections_store_previous_value;
    }
    else {
      sprintf(log_buffer, "Maximum PF found! phase_correction[%d] is at %d, equal to %.2lf degrees phase shift.\r\n", ch, phase_corrections[ch], (360.0*((adc_conversion_time*phase_corrections[ch])/(1/mains_frequency))));
      set_highest_phase_correction(); // update the highest value for 'value ready?' buffer checking.
    }
    phHunt_direction_changes = 0;
    *pf_ptr = 0;
    hunt_PF[ch] = 5;
  }
}

/* USER CODE END PFP */

/* USER CODE BEGIN 0 */

//------------------------
// EEPROM Emulation
//------------------------
// Credit to Viktor Vano for the Flash read/write code
// https://github.com/viktorvano/STM32F3Discovery_internal_FLASH

#define FLASH_STORAGE 0x08030000 // Maximum value for STM32F303xE is defined at line 111 of stm32f3xx_hal_flash_ex.h (0x0807FFFFU)
#define page_size 0x800

void save_to_flash(uint8_t *data)
{
	volatile uint32_t data_to_FLASH[(strlen((char*)data)/4)	+ (int)((strlen((char*)data) % 4) != 0)];
	memset((uint8_t*)data_to_FLASH, 0, strlen((char*)data_to_FLASH));
	strcpy((char*)data_to_FLASH, (char*)data);

	volatile uint32_t data_length = (strlen((char*)data_to_FLASH) / 4)
									+ (int)((strlen((char*)data_to_FLASH) % 4) != 0);
	volatile uint16_t pages = (strlen((char*)data)/page_size)
									+ (int)((strlen((char*)data)%page_size) != 0);
	  /* Unlock the Flash to enable the flash control register access *************/
	  HAL_FLASH_Unlock();

	  /* Allow Access to option bytes sector */
	  HAL_FLASH_OB_Unlock();

	  /* Fill EraseInit structure*/
	  FLASH_EraseInitTypeDef EraseInitStruct;
	  EraseInitStruct.TypeErase = FLASH_TYPEERASE_PAGES;
	  EraseInitStruct.PageAddress = FLASH_STORAGE;
	  EraseInitStruct.NbPages = pages;
	  uint32_t PageError;

	  volatile uint32_t write_cnt=0, index=0;

	  volatile HAL_StatusTypeDef status;
	  status = HAL_FLASHEx_Erase(&EraseInitStruct, &PageError);
	  while(index < data_length)
	  {
		  if (status == HAL_OK)
		  {
			  status = HAL_FLASH_Program(FLASH_TYPEPROGRAM_WORD, FLASH_STORAGE+write_cnt, data_to_FLASH[index]);
			  if(status == HAL_OK)
			  {
				  write_cnt += 4;
				  index++;
			  }
		  }
	  }

	  HAL_FLASH_OB_Lock();
	  HAL_FLASH_Lock();
}

void read_flash(uint8_t* data)
{
	volatile uint32_t read_data;
	volatile uint32_t read_cnt=0;
	do
	{
		read_data = *(uint32_t*)(FLASH_STORAGE + read_cnt);
		if(read_data != 0xFFFFFFFF)
		{
			data[read_cnt] = (uint8_t)read_data;
			data[read_cnt + 1] = (uint8_t)(read_data >> 8);
			data[read_cnt + 2] = (uint8_t)(read_data >> 16);
			data[read_cnt + 3] = (uint8_t)(read_data >> 24);
			read_cnt += 4;
		}
	} while(read_data != 0xFFFFFFFF);
}

typedef struct {
  int reset_counter;
  //uint32_t uptime;
  //double temperature;   // other data
} FlashStruct;

FlashStruct flash_struct;

//------------------------------------------
// Calculate Power Data for one Channel
//------------------------------------------
double Vrms;
double Irms;
double realPower;
double apparentPower;
double powerFactor;

void calcPower (int ch)
{
  channel_t *chn = &channels_ready[ch];

  double Vmean = (double)chn->sum_V / (double)chn->count;
  double Imean = (double)chn->sum_I / (double)chn->count;

  double f32sum_V_sq_avg = (double)chn->sum_V_sq / (double)chn->count;
  f32sum_V_sq_avg -= (Vmean * Vmean); // offset removal

  double f32sum_I_sq_avg = (double)chn->sum_I_sq / (double)chn->count;
  f32sum_I_sq_avg -= (Imean * Imean); // offset removal

  // assuming result of offset removal always positive.
  // small chance a negative result would cause a nan at sqrt.

  Vrms = V_RATIO * sqrt(f32sum_V_sq_avg);
  Irms = I_RATIO * sqrt(f32sum_I_sq_avg);

  double f32_sum_P_avg = (double)chn->sum_P / (double)chn->count;
  double mean_P = f32_sum_P_avg - (Vmean * Imean); // offset removal

  realPower = V_RATIO * I_RATIO * mean_P;
  apparentPower = Vrms * Irms;

  // calculate PF, is it necessary to prevent dividing by zero error?
  if (apparentPower != 0) { powerFactor = realPower / apparentPower; }
  else powerFactor = 0;

  Ws_accumulator[ch] += (realPower * (posting_interval / 1000.0));
}

//------------------------------------------
// Process Half-Buffer into Accumulators.
//------------------------------------------
void process_frame (uint16_t offset)
{
  /* debugging
  if (!hia) {
    debug_printf("Hello! First process_frame!\r\n");
    hia =1;
  }
  */
  if(ledBlink){HAL_GPIO_WritePin(GPIOD, GPIO_PIN_10, GPIO_PIN_SET); }// blink the led

  //set_highest_phase_correction(); // could be called after a phase correction routine instead.
  while (!check_dma_index_for_phase_correction(offset)) __NOP();

  int16_t sample_V, sample_I, signed_V, signed_I;

   // to hunt one adc_buffer_index per readings_ready, because it's only in readings_ready where PF is calc'd.
  /*
  sprintf(log_buffer, "adc_buff_half_size:%d\r\n", adc_buff_half_size);
  debug_printf(log_buffer);
  log_buffer[0] = '\0';
  */

  for (uint16_t i = 0; i < adc_buff_half_size; i += CTn) // CTn = CT channel quanity.
  {

    /* // debug buffer
    sprintf(log_buffer, "signed_v:%d\r\n", signed_V);
    debug_printf(log_buffer);
    log_buffer[0] = '\0';
    */

    //----------------------------------------
    // Power
    //----------------------------------------
    // Cycle through channels, accumulating
    for (int ch = 0; ch < CTn; ch++)
    {
      channel_t *channel = &channels[ch];
      //----------------------------------------
      // Voltage
      //----------------------------------------
      // phase correction could happen here to have higher resolution.
      // to shift voltage gives finer grained phase resolution in single-phase mode
      // because the voltage channel is used by all CTs.
      int16_t sample_V_index = offset + i + ch + phase_corrections[ch];
      // check for buffer overflow
      if (sample_V_index >= adc_buff_size) sample_V_index -= adc_buff_size;
      else if (sample_V_index < 0) sample_V_index += adc_buff_size;

      sample_V = adc1_dma_buff[sample_V_index];
      //if (sample_V == 4095) Vclipped = true; // unlikely
      signed_V = sample_V - MID_ADC_READING;
      channel->sum_V += signed_V;
      channel->sum_V_sq += signed_V * signed_V; // for Vrms
      //----------------------------------------
      // Current
      //----------------------------------------
      sample_I = adc2_dma_buff[offset + i + ch];
      if (sample_I == 4095) channel->Iclipped = true; // much more likely, useful safety information.
      signed_I = sample_I - MID_ADC_READING; // mid-rail removal possible through ADC4, option for future perhaps.
      channel->sum_I += signed_I; //
      channel->sum_I_sq += signed_I * signed_I; // for Irms
      //----------------------------------------
      // Power, instantaneous.
      //----------------------------------------
      channel->sum_P += signed_V * signed_I;

      channel->count++; // number of adc samples.

      //----------------------------------------
      // Upwards-zero-crossing detection, whole AC cycles.
      channel->last_positive_V = channel->positive_V; // retrieve the previous value.
      if (signed_V >= 0) { channel->positive_V = true; } // changed > to >= . not important as MID_ADC_READING 2048 not accurate anyway.
      else { channel->positive_V = false; }
      //--------------------------------------------------
      //--------------------------------------------------
      if (dontGiveAMonkeys || (!channel->last_positive_V && channel->positive_V)) { // looking out for a upwards-zero crossing.
        channel->cycles++; // rather than count cycles for readings_ready, better to have the main loop ask for them.
        // debug cycle count
        /*
        sprintf(log_buffer, "cycles%d:%ld\r\n", ch, channel->cycles);
        debug_printf(log_buffer); log_buffer[0] = '\0';
        */
        //----------------------------------------
        if (readings_requested && !channel_rdy_bools[ch]) { // if readings are needed by the main loop and channel is not copied/ready.
          channel_t *channel_ready = &channels_ready[ch];
          // copy accumulators for use in main loop.
          memcpy((void*)channel_ready, (void*)channel, sizeof(channel_t));
          // reset accumulators to zero.
          memset((void*)channel, 0, sizeof(channel_t));
          // follow through the state of positive_v so no extra AC cycle is erroneously counted.
          channel->positive_V = true;
          // set 'channel ready' for this channel.
          channel_rdy_bools[ch] = true;
          // are all the channels ready?
          int chn_ready_count = 0;
          for (int j = 0; j < CTn; j++) {
            if (channel_rdy_bools[j]) chn_ready_count++;
          }
          if (chn_ready_count == CTn) { readings_ready = true; readings_requested = false; }

          // test waveform sync. printed result should go from 1 to 9.
          /*
          sprintf(log_buffer, "channelsRdy:%d\r\n", chn_ready_count);
          debug_printf(log_buffer); log_buffer[0] = '\0';
          */
        }
      }
      //--------------------------------------------------
      //-------------------------------------------------- end zero-crossing.
    } // end per channel routine
  } // end buffer routine
  if(ledBlink) { HAL_GPIO_WritePin(GPIOD, GPIO_PIN_10, GPIO_PIN_RESET);}

} // end process_frame().

/* USER CODE END 0 */

int main(void)
{
  /* USER CODE BEGIN 1 */
  V_RATIO = VCAL * VOLTS_PER_DIV;
  I_RATIO = ICAL * VOLTS_PER_DIV;

  //FlashStruct *flashpt = &flash_struct;
  //union Un flashUn;

  /* USER CODE END 1 */

  /* MCU Configuration----------------------------------------------------------*/

  /* Reset of all peripherals, Initializes the Flash interface and the Systick. */
  HAL_Init();

  /* Configure the system clock */
  SystemClock_Config();

  /* Initialize all configured peripherals */
  MX_GPIO_Init();
  MX_DMA_Init();
  MX_USART2_UART_Init();
  MX_TIM8_Init();
  MX_ADC1_Init();
  MX_USART1_UART_Init();
  MX_TIM16_Init();
  MX_ADC2_Init();
  MX_SPI1_Init();
  MX_SPI4_Init();
  MX_UART4_Init();
  MX_USART3_UART_Init();
  MX_I2C3_Init();
  MX_UART5_Init();
  MX_RTC_Init();
  MX_ADC3_Init();
  MX_OPAMP4_Init();
  /* USER CODE BEGIN 2 */

  //------------------------
  // UART DMA RX ENABLE
  //------------------------
  __HAL_UART_ENABLE_IT(&huart1, UART_IT_IDLE);
  HAL_UART_Receive_DMA(&huart1, rx_buff, sizeof(rx_buff));
  __HAL_UART_ENABLE_IT(&huart2, UART_IT_IDLE);
  HAL_UART_Receive_DMA(&huart2, rx_buff, sizeof(rx_buff));
  //------------------------------
  // UART Non-blocking TX ENABLE
  //------------------------------
  __HAL_UART_ENABLE_IT(&huart1, UART_IT_TC); // necessary only to know if we're good to fire another Tx soon after a HAL_UART_Transmit_IT()
  __HAL_UART_ENABLE_IT(&huart2, UART_IT_TC);
          // usart1_rx_flag = 1; // debugging

  //debug_printf("\r\n\r\nStart, connect VT.\r\n");
  char stratLine[] = "\r\n\r\nStart, connect VT.\r\n";
  HAL_UART_Transmit_IT(&huart2, (uint8_t*)stratLine, strlen(stratLine));

  //-------------------------------------------------
  // Analog Input RNG for Radio Start Delay
  //-------------------------------------------------
  if (radioSend) {
    int RadDelayCount = 0;
    int RadioDelay;
    while(RadDelayCount < 3) {
      static int reading;
      static int previousRadDelay;
      previousRadDelay = reading;

      // ADC read start
      HAL_ADC_Start(&hadc3);
      while (HAL_ADC_PollForConversion(&hadc3, 1000) != HAL_OK) {__NOP();}
      reading = HAL_ADC_GetValue(&hadc3);
      HAL_ADC_Stop(&hadc3);
      // ADC read end.

      RadioDelay = abs((reading - previousRadDelay + 400) * 10); // scale the 'noise'.
      HAL_Delay(100);
      RadDelayCount++;
    }
    sprintf(log_buffer, "RadioDelay:%d\r\n", RadioDelay);
    debug_printf(log_buffer);
    HAL_Delay (RadioDelay);

    log_buffer[0] = '\0'; // clear buffer.
  } // end RadioDelay.

  //------------------------
  // RTC Backup Registers
  //------------------------
  // RTC backup register test, 16 x 32-bit addresses available.
  // see stm32f3xx_hal_rtc_ex.c  line 1118 onwards.
  //uint32_t bkp_write = 123456789;
  uint32_t bkp_ = HAL_RTCEx_BKUPRead(&hrtc, RTC_BKP_DR0);
  sprintf(log_buffer, "Number of boots:%ld\r\n", bkp_);
  debug_printf(log_buffer); log_buffer[0] = 0;
  boot_number = bkp_;
  HAL_RTCEx_BKUPWrite(&hrtc, RTC_BKP_DR0, bkp_+1);
  // works!

  // RESET CAUSE
  reset_cause_store = reset_cause_get();
  sprintf(log_buffer, "Reset Cause:%s\r\n", reset_cause_get_name(reset_cause_store));
  debug_printf(log_buffer); log_buffer[0] = 0;

  //------------------------
  // EEPROM Emulation test
  //------------------------
  /*
  char write_data_pgm[50];
  strcpy(write_data_pgm, "Hellow from Flash Memory!\r\n");
  save_to_flash((uint8_t*) write_data_pgm);
  char read_data_pgm[50];
  read_flash((uint8_t*)read_data_pgm);
  debug_printf(read_data_pgm); // print result

  float write_float_pgm = 123.321f;
  float *pointer_write_float = &write_float_pgm;
  save_to_flash((uint8_t*)pointer_write_float);
  float read_float_pgm = 0.0;
  float *pointer_read_float = &read_float_pgm;
  read_flash((uint8_t*)pointer_read_float);
  //char log_buffer[20];
  sprintf(log_buffer, "Float value also read from flash memory! %.3f\r\n", read_float_pgm);
  debug_printf(log_buffer); log_buffer[0] = 0; // print result
  */

  // int test_array_mode[5] = {2,1,3,4,5};
  // sprintf(log_buffer, "test mode-finding: %d\r\n", findmode(test_array_mode, 5));
  // debug_printf(log_buffer); log_buffer[0] = 0; // print result
  // seems findmode() will return the first value of the array if no mode value is found.

  //------------------------
  // is the rPi Connected?
  //------------------------
  if (HAL_GPIO_ReadPin(rPi_PWR_GPIO_Port, rPi_PWR_Pin) == 1)
  {
    debug_printf("rPi connected!\r\n");
    _mode = 1;
  }
  else {
    debug_printf("rPi not connected.\r\n");
    // _mode = 0;
  }

  //------------------------
  // RADIO Init
  //------------------------
  RFM69_RST();
  HAL_Delay(20);
  if (RFM69_initialize(freqBand, nodeID, networkID))
  {
    sprintf(log_buffer, "RFM69 Initialized. Freq %dMHz. Node %d. Group %d.\r\n", freqBand, nodeID, networkID);
    debug_printf(log_buffer);
    log_buffer[0] = '\0';
    //RFM69_readAllRegs(); // debug output
  }
  else debug_printf("RFM69 not connected.\r\n");

  // if we have a encryption key, radio encryption will be set.
  if (encryptkey[0]) RFM69_encrypt(encryptkey);

  if (radioReceive || radioSend) {
    __NOP();
  }
  else {
    HAL_SPI_MspDeInit(&hspi4); // disable SPI4, for testing.
    debug_printf("SPI4 DeInit'd.\r\n");
  }
  //else {
  //RFM69_interruptHandler();
  //RFM69_receiveDone();
  //}

  //------------------------
  // ADC & OPAMP Start
  //------------------------
  HAL_ADCEx_Calibration_Start(&hadc1, ADC_SINGLE_ENDED);
  HAL_ADCEx_Calibration_Start(&hadc2, ADC_SINGLE_ENDED);
  HAL_Delay(2);
  HAL_OPAMP_Start(&hopamp4);
  HAL_Delay(2);
  //start_ADCs(usec_lag);

  //init_ds18b20s(); // temperature sensor

  debug_printf("\r\n");

  /* USER CODE END 2 */

  /* Infinite loop */
  /* USER CODE BEGIN WHILE */
  while (1)
  {
    current_millis = HAL_GetTick();

    // process_ds18b20s();

    //---------------------------------------
    // Interval for posting power readings.
    //---------------------------------------
    if (current_millis - previous_millis >= posting_interval) {

      uint32_t correction = current_millis - previous_millis - posting_interval;
      previous_millis = current_millis - correction;

      //RTC_CalendarShow(aShowTime, aShowDate);
      //debug_printf((char*)aShowDate); debug_printf("\r\n");
      //debug_printf((char*)aShowTime); debug_printf("\r\n");

      if (readings_requested) debug_printf("No voltage waveform present.\r\n");
      //if (testing) goto debugIrms;
      // implement default Vrms value setting and automatic calc of Irms and approximated Power value.
      readings_requested = true;
    }

    //------------------------------------------------
    // ADC DMA buffer flags. Process Frames.
    //------------------------------------------------
    if (conv_hfcplt_flag)
    {
      conv_hfcplt_flag = false;
      process_frame(0); // process 1st half of buffer.
    }
    if (conv_cplt_flag)
    {
      conv_cplt_flag = false;
      process_frame(adc_buff_half_size); // process 2nd half of buffer.
    }
    // HAL_Delay(200); // ADC buffer overrun flag test.

    //------------------------------------------------
    // Check to post primary data.
    //------------------------------------------------
    if (readings_ready)
    {
      readings_ready = false; memset(channel_rdy_bools, 0, sizeof(channel_rdy_bools)); // clear flags.
      if (!first_readings) { first_readings = true; goto EndJump; } // discard the first set as beginning of 1st waveform not tracked.

      if(ledBlink){HAL_GPIO_WritePin(GPIOD, GPIO_PIN_9, GPIO_PIN_SET); } // blink the led

      sprintf(readings_rdy_buffer, "STM:1.0,"); // initital write to buffer.
      readings_rdy_buffer[0] = '\0'; // initital write to buffer.

      for (int ch = 0; ch < CTn; ch++)
      {
        channel_t *chn = &channels_ready[ch];

        last_powerFactor[ch] = powerFactor_now[ch];
        calcPower(ch);
        powerFactor_now[ch] = powerFactor;
        pfHunt(ch);

        if (ch == 0) { // estimate mains_frequency on a single channel, no need for more.
          mains_frequency = 1.0/(((chn->count * CTn) / chn->cycles) * adc_conversion_time);
        }

        int _ch = ch + 1; // nicer looking channel numbers. 1 starts at 1 instead of 0.
        if (_ch == 3) { // single channel debug output.
          sprintf(string_buffer, "V%d:%.2lf,I%d:%.3lf,AP%d:%.1lf,RP%d:%.1lf,PF%d:%.6lf,Joules%d:%.3lf,Clip%d:%d,cycles%d:%ld,samples%d:%ld,\r\n", _ch, Vrms, _ch, Irms, _ch, apparentPower, _ch, realPower, _ch, powerFactor, _ch, Ws_accumulator[ch], _ch, chn->Iclipped, _ch, chn->cycles, _ch, chn->count);
          strcat(readings_rdy_buffer, string_buffer);
        } // single channel debug output.
      }

      // Main frequency estimate.
      sprintf(string_buffer, "Hz_estimate:%.1f,", mains_frequency);
      if (_mode == 1) strcat(readings_rdy_buffer, string_buffer);

      // Millis
      sprintf(string_buffer, "millis:%ld,", current_millis);
      if (_mode == 1) strcat(readings_rdy_buffer, string_buffer);

      // Pulsecount
      sprintf(string_buffer, "PC:%ld,", pulseCount);
      if (_mode == 1) strcat(readings_rdy_buffer, string_buffer);

      // has the adc buffer overrun?
      sprintf(string_buffer, "buffOverrun:%d", adc_buffer_overflow);
      adc_buffer_overflow = 0; // reset
      if (_mode == 1) strcat(readings_rdy_buffer, string_buffer);

      // close the string and add some whitespace for clarity.
      if (_mode == 1) strcat(readings_rdy_buffer, "\r\n");
      debug_printf(readings_rdy_buffer); readings_rdy_buffer[0] = '\0';

      // RFM69 send.
      if (radioSend) // sending data, test data only.
      {
        radioData.nodeId = nodeID;
        radioData.uptime = HAL_GetTick();
        if(ledBlink){HAL_GPIO_WritePin(GPIOD, GPIO_PIN_8, 1); HAL_TIM_Base_Start_IT(&htim16); }// LED blink
        RFM69_send(toAddress, (const void *)(&radioData), sizeof(radioData), requestACK);
        //RFM69_sendWithRetry(toAddress, (const void *)(&radioData), sizeof(radioData), 3,20);
      }

      if(ledBlink){HAL_GPIO_WritePin(GPIOD, GPIO_PIN_9, GPIO_PIN_RESET);}
    } EndJump: // end main readings_ready function.

    //-------------------------------
    // RFM69 Rx
    //-------------------------------
    // This needs checking, does a flag need generating from a DIO0 read = true?
    // Would a flat reduce the SPI business.?
    if(radioReceive) {
      if (RFM69_ReadDIO0Pin()) {
        debug_printf("RFM69 DIO0 high.\r\n");
        //RFM69_interruptHandler();
        if (RFM69_receiveDone()) { // this maybe shouldn't be nested in the previous if(). If Rx doesn't work, could be the problem.
          HAL_GPIO_WritePin(GPIOD, GPIO_PIN_8, 1); // LED blink
          HAL_TIM_Base_Start_IT(&htim16); // LED blink, interrupt based.
          // debug output below.
          debug_printf("RFM69 payload received.\r\n");
          PrintRawBytes();
          //PrintStruct();
          //PrintByteByByte();
          //RFM69_interruptHandler();
          sprintf(log_buffer, "RSSI:%d\r\n", rssi);
          debug_printf(log_buffer);

          RFM69_receiveBegin();
          //RFM69_receiveDone(); // seems to be required.
          log_buffer[0] = '\0';
        }
      }
    } // end radioReceive

    /*  // below for testing radio Noise
    if (radioSend) // sending data, test data only.
      {
        HAL_GPIO_WritePin(GPIOD, GPIO_PIN_8, 1); // LED blink
        HAL_TIM_Base_Start_IT(&htim16); // LED blink, interrupt based.
        radioData.nodeId = nodeID;
        radioData.uptime = HAL_GetTick();
        if(ledBlink){HAL_GPIO_WritePin(GPIOD, GPIO_PIN_8, 1); HAL_TIM_Base_Start_IT(&htim16); }// LED blink
        RFM69_send(toAddress, (const void *)(&radioData), sizeof(radioData), requestACK);
        //RFM69_sendWithRetry(toAddress, (const void *)(&radioData), sizeof(radioData), 3,20);
      }
    */

    //------------------------
    // UART Rx check
    //------------------------
    if (usart1_rx_flag)
    {
      usart1_rx_flag = 0;
      memcpy(rx_string, rx_buff, sizeof(rx_buff));
      memset(rx_buff, 0, sizeof(rx_buff));
      huart1.hdmarx->Instance->CCR &= ~DMA_CCR_EN;
      huart1.hdmarx->Instance->CNDTR = sizeof(rx_buff);
      huart1.hdmarx->Instance->CCR |= DMA_CCR_EN; // reset dma counter
      //json_parser("{G:RTC}"); // calling this loads json_response[] with a response.
      json_parser(rx_string); // calling this loads json_response[] with a response.
      sprintf(log_buffer, "{STM32:%s}\r\n", json_response);
    }
    if (usart2_rx_flag)
    {
      //-----
        //phase_corrections[0] = 13; // slap a value in there to test with.
        //hunt_PF[0] = true; // test powerfactor hunting on CT1.
      //-----
      usart2_rx_flag = 0;
      memcpy(rx_string, rx_buff, sizeof(rx_buff));
      memset(rx_buff, 0, sizeof(rx_buff));
      huart2.hdmarx->Instance->CCR &= ~DMA_CCR_EN;
      huart2.hdmarx->Instance->CNDTR = sizeof(rx_buff);
      huart2.hdmarx->Instance->CCR |= DMA_CCR_EN; // reset dma counter
      json_parser(rx_string); // calling this loads json_response[] with a response.
      sprintf(log_buffer, "{STM32:%s}\r\n", json_response);
    }

    //-------------------------------
    // Print char buffers to serial.
    //-------------------------------
    if (log_buffer[0] != '\0') { // null terminated strings!
      rPi_printf(log_buffer);
      log_buffer[0] = '\0'; // set index of string to null to effectively delete the string.
      // https://stackoverflow.com/questions/632846/clearing-a-char-array-c
    }
    if (readings_rdy_buffer[0] != '\0') {
      rPi_printf(readings_rdy_buffer);
      readings_rdy_buffer[0] = '\0';
    }

  /* USER CODE END WHILE */

  }

}

void SystemClock_Config(void)
{

  RCC_OscInitTypeDef RCC_OscInitStruct;
  RCC_ClkInitTypeDef RCC_ClkInitStruct;
  RCC_PeriphCLKInitTypeDef PeriphClkInit;

    /**Configure LSE Drive Capability
    */
  HAL_PWR_EnableBkUpAccess();

  __HAL_RCC_LSEDRIVE_CONFIG(RCC_LSEDRIVE_LOW);

    /**Initializes the CPU, AHB and APB busses clocks
    */
  RCC_OscInitStruct.OscillatorType = RCC_OSCILLATORTYPE_HSE|RCC_OSCILLATORTYPE_LSE;
  RCC_OscInitStruct.HSEState = RCC_HSE_ON;
  RCC_OscInitStruct.LSEState = RCC_LSE_ON;
  RCC_OscInitStruct.HSIState = RCC_HSI_ON;
  RCC_OscInitStruct.PLL.PLLState = RCC_PLL_ON;
  RCC_OscInitStruct.PLL.PLLSource = RCC_PLLSOURCE_HSE;
  RCC_OscInitStruct.PLL.PLLMUL = RCC_PLL_MUL9;
  RCC_OscInitStruct.PLL.PREDIV = RCC_PREDIV_DIV1;
  if (HAL_RCC_OscConfig(&RCC_OscInitStruct) != HAL_OK)
  {
    _Error_Handler(__FILE__, __LINE__);
  }

    /**Initializes the CPU, AHB and APB busses clocks
    */
  RCC_ClkInitStruct.ClockType = RCC_CLOCKTYPE_HCLK|RCC_CLOCKTYPE_SYSCLK
                              |RCC_CLOCKTYPE_PCLK1|RCC_CLOCKTYPE_PCLK2;
  RCC_ClkInitStruct.SYSCLKSource = RCC_SYSCLKSOURCE_PLLCLK;
  RCC_ClkInitStruct.AHBCLKDivider = RCC_SYSCLK_DIV1;
  RCC_ClkInitStruct.APB1CLKDivider = RCC_HCLK_DIV2;
  RCC_ClkInitStruct.APB2CLKDivider = RCC_HCLK_DIV1;

  if (HAL_RCC_ClockConfig(&RCC_ClkInitStruct, FLASH_LATENCY_2) != HAL_OK)
  {
    _Error_Handler(__FILE__, __LINE__);
  }

  PeriphClkInit.PeriphClockSelection = RCC_PERIPHCLK_USART1|RCC_PERIPHCLK_USART2
                              |RCC_PERIPHCLK_USART3|RCC_PERIPHCLK_UART4
                              |RCC_PERIPHCLK_UART5|RCC_PERIPHCLK_I2C3
                              |RCC_PERIPHCLK_RTC|RCC_PERIPHCLK_TIM16
                              |RCC_PERIPHCLK_TIM8|RCC_PERIPHCLK_ADC34;
  PeriphClkInit.Usart1ClockSelection = RCC_USART1CLKSOURCE_SYSCLK;
  PeriphClkInit.Usart2ClockSelection = RCC_USART2CLKSOURCE_SYSCLK;
  PeriphClkInit.Usart3ClockSelection = RCC_USART3CLKSOURCE_SYSCLK;
  PeriphClkInit.Uart4ClockSelection = RCC_UART4CLKSOURCE_SYSCLK;
  PeriphClkInit.Uart5ClockSelection = RCC_UART5CLKSOURCE_SYSCLK;
  PeriphClkInit.Adc34ClockSelection = RCC_ADC34PLLCLK_DIV1;
  PeriphClkInit.I2c3ClockSelection = RCC_I2C3CLKSOURCE_SYSCLK;
  PeriphClkInit.RTCClockSelection = RCC_RTCCLKSOURCE_LSE;
  PeriphClkInit.Tim16ClockSelection = RCC_TIM16CLK_HCLK;
  PeriphClkInit.Tim8ClockSelection = RCC_TIM8CLK_HCLK;
  if (HAL_RCCEx_PeriphCLKConfig(&PeriphClkInit) != HAL_OK)
  {
    _Error_Handler(__FILE__, __LINE__);
  }

    /**Configure the Systick interrupt time
    */
  HAL_SYSTICK_Config(HAL_RCC_GetHCLKFreq()/1000);

    /**Configure the Systick
    */
  HAL_SYSTICK_CLKSourceConfig(SYSTICK_CLKSOURCE_HCLK);

  /* SysTick_IRQn interrupt configuration */
  HAL_NVIC_SetPriority(SysTick_IRQn, 0, 0);
}

/* USER CODE BEGIN 4 */
void HAL_GPIO_EXTI_Callback (uint16_t GPIO_Pin) {
  if (GPIO_Pin == PULSE1_Pin) {
    debug_printf("Pulse Detected.\r\n");
    pulseCount++;
  }
}

/* USER CODE END 4 */

void _Error_Handler(char *file, int line)
{
  /* USER CODE BEGIN Error_Handler_Debug */
  /* User can add his own implementation to report the HAL error return state */
  while (1)
  {
    sprintf(log_buffer, "sys_error:%s,line:%d\r\n", file, line);
    //debug_printf(log_buffer);
  }
  /* USER CODE END Error_Handler_Debug */
}

/************************ (C) COPYRIGHT STMicroelectronics *****END OF FILE****/
